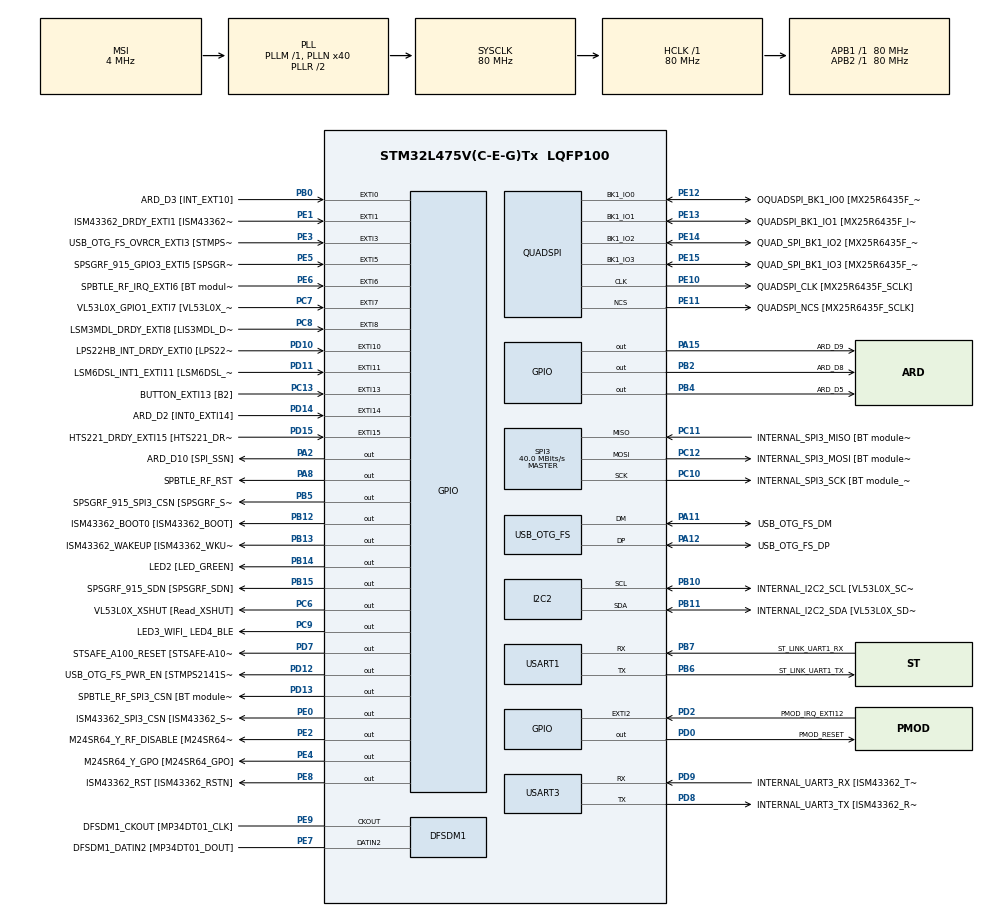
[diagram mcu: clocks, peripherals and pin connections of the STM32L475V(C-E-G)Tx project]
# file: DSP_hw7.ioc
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I2C2.Timing=0x10D19CE4
Mcu.Family=STM32L4
Mcu.Name=STM32L475V(C-E-G)Tx
Mcu.Package=LQFP100
NVIC.EXTI15_10_IRQn=true\:0\:0\:false\:false\:true\:true\:true\:true
NVIC.EXTI9_5_IRQn=true\:0\:0\:false\:false\:true\:true\:true\:true
NVIC.PriorityGroup=NVIC_PRIORITYGROUP_4
PA0.GPIO_Label=ARD_D1 [UART4_TX]
PA0.Signal=UART4_TX
PA1.GPIO_Label=ARD_D0 [UART4_RX]
PA1.Signal=UART4_RX
PA10.GPIO_Label=USB_OTG_FS_ID
PA10.Signal=USB_OTG_FS_ID
PA11.GPIO_Label=USB_OTG_FS_DM
PA11.Mode=Device_Only
PA11.Signal=USB_OTG_FS_DM
PA12.GPIO_Label=USB_OTG_FS_DP
PA12.Mode=Device_Only
PA12.Signal=USB_OTG_FS_DP
PA13\ (JTMS-SWDIO).GPIO_Label=SYS_JTMS_SWDIO
PA13\ (JTMS-SWDIO).Mode=Serial_Wire
PA13\ (JTMS-SWDIO).Signal=SYS_JTMS-SWDIO
PA14\ (JTCK-SWCLK).GPIO_Label=SYS_JTCK_SWCLK
PA14\ (JTCK-SWCLK).Mode=Serial_Wire
PA14\ (JTCK-SWCLK).Signal=SYS_JTCK-SWCLK
PA15\ (JTDI).GPIO_Label=ARD_D9
PA15\ (JTDI).Signal=GPIO_Output
PA2.GPIO_Label=ARD_D10 [SPI_SSN]
PA2.Signal=GPIO_Output
PA3.GPIO_Label=ARD_D4
PA3.Signal=S_TIM2_CH4
PA4.GPIO_Label=ARD_D7
PA4.Signal=ADCx_IN9
PA5.GPIO_Label=ARD_D13 [SPI1_SCK]
PA5.Signal=SPI1_SCK
PA6.GPIO_Label=ARD_D12 [SPI1_MISO]
PA6.Signal=SPI1_MISO
PA7.GPIO_Label=ARD_D11 [SPI1_MOSI]
PA7.Signal=SPI1_MOSI
PA8.GPIO_Label=SPBTLE_RF_RST
PA8.Signal=GPIO_Output
PA9.GPIO_Label=USB_OTG_FS_VBUS [STMPS2141STR_OUT]
PA9.Signal=USB_OTG_FS_VBUS
PB0.GPIO_Label=ARD_D3 [INT_EXT10]
PB0.Signal=GPXTI0
PB1.GPIO_Label=ARD_D6 [ADC1_IN6]
PB1.Signal=ADCx_IN16
PB10.GPIO_Label=INTERNAL_I2C2_SCL [VL53L0X_SCL]
PB10.GPIO_Pu=GPIO_PULLUP
PB10.Mode=I2C
PB10.Signal=I2C2_SCL
PB11.GPIO_Label=INTERNAL_I2C2_SDA [VL53L0X_SDA]
PB11.GPIO_Pu=GPIO_PULLUP
PB11.Mode=I2C
PB11.Signal=I2C2_SDA
PB12.GPIO_Label=ISM43362_BOOT0 [ISM43362_BOOT]
PB12.Signal=GPIO_Output
PB13.GPIO_Label=ISM43362_WAKEUP [ISM43362_WKUP]
PB13.Signal=GPIO_Output
PB14.GPIO_Label=LED2 [LED_GREEN]
PB14.Signal=GPIO_Output
PB15.GPIO_Label=SPSGRF_915_SDN [SPSGRF_SDN]
PB15.Signal=GPIO_Output
PB2.GPIO_Label=ARD_D8
PB2.Signal=GPIO_Output
PB3\ (JTDO-TRACESWO).GPIO_Label=SYS_JTD0_SWO
PB3\ (JTDO-TRACESWO).Signal=SYS_JTDO-SWO
PB4\ (NJTRST).GPIO_Label=ARD_D5
PB4\ (NJTRST).Signal=GPIO_Output
PB5.GPIO_Label=SPSGRF_915_SPI3_CSN [SPSGRF_SPI_CS]
PB5.PinState=GPIO_PIN_SET
PB5.Signal=GPIO_Output
PB6.GPIO_Label=ST_LINK_UART1_TX
PB6.Mode=Asynchronous
PB6.Signal=USART1_TX
PB7.GPIO_Label=ST_LINK_UART1_RX
PB7.Mode=Asynchronous
PB7.Signal=USART1_RX
PB8.GPIO_Label=ARD_D15 [I2C1_SCL]
PB8.Signal=I2C1_SCL
PB9.GPIO_Label=ARD_D14 [I2C1_SDA]
PB9.Signal=I2C1_SDA
PC0.GPIO_Label=ARD_A5 [ADC]
PC0.Signal=ADCx_IN1
PC1.GPIO_Label=ARD_A4 [ADC]
PC1.Signal=ADCx_IN2
PC10.GPIO_Label=INTERNAL_SPI3_SCK [BT module_SPI_SCLK] [ISM43362_SCK]
PC10.Mode=Full_Duplex_Master
PC10.Signal=SPI3_SCK
PC11.GPIO_Label=INTERNAL_SPI3_MISO [BT module_SPI_MISO] [ISM43362_MISO]
PC11.Mode=Full_Duplex_Master
PC11.Signal=SPI3_MISO
PC12.GPIO_Label=INTERNAL_SPI3_MOSI [BT module_SPI_MOSI] [ISM43362_MOSI]
PC12.Mode=Full_Duplex_Master
PC12.Signal=SPI3_MOSI
PC13.GPIO_Label=BUTTON_EXTI13 [B2]
PC13.GPIO_ModeDefaultEXTI=GPIO_MODE_IT_FALLING
PC13.Signal=GPXTI13
PC14-OSC32_IN\ (PC14).Mode=LSE-External-Oscillator
PC14-OSC32_IN\ (PC14).Signal=RCC_OSC32_IN
PC15-OSC32_OUT\ (PC15).Mode=LSE-External-Oscillator
PC15-OSC32_OUT\ (PC15).Signal=RCC_OSC32_OUT
PC2.GPIO_Label=ARD_A3 [ADC]
PC2.Signal=ADCx_IN3
PC3.GPIO_Label=ARD_A2 [ADC]
PC3.Signal=ADCx_IN4
PC4.GPIO_Label=ARD_A1 [ADC]
PC4.Signal=ADCx_IN13
PC5.GPIO_Label=ARD_A0 [ADC]
PC5.Signal=ADCx_IN14
PC6.GPIO_Label=VL53L0X_XSHUT [Read_XSHUT]
PC6.Signal=GPIO_Output
PC7.GPIO_Label=VL53L0X_GPIO1_EXTI7 [VL53L0X_GPIO1]
PC7.Signal=GPXTI7
PC8.GPIO_Label=LSM3MDL_DRDY_EXTI8 [LIS3MDL_DRDY]
PC8.Signal=GPXTI8
PC9.GPIO_Label=LED3_WIFI_ LED4_BLE
PC9.Signal=GPIO_Output
PD0.GPIO_Label=PMOD_RESET
PD0.Signal=GPIO_Output
PD1.GPIO_Label=PMOD_SPI2_SCK
PD1.Signal=SPI2_SCK
PD10.GPIO_Label=LPS22HB_INT_DRDY_EXTI0 [LPS22HB_INT_DRDY] 
PD10.Signal=GPXTI10
PD11.GPIO_Label=LSM6DSL_INT1_EXTI11 [LSM6DSL_INT1]
PD11.Signal=GPXTI11
PD12.GPIO_Label=USB_OTG_FS_PWR_EN [STMPS2141STR_EN]
PD12.Signal=GPIO_Output
PD13.GPIO_Label=SPBTLE_RF_SPI3_CSN [BT module_SPI_CS]
PD13.PinState=GPIO_PIN_SET
PD13.Signal=GPIO_Output
PD14.GPIO_Label=ARD_D2 [INT0_EXTI14]
PD14.Signal=GPXTI14
PD15.GPIO_Label=HTS221_DRDY_EXTI15 [HTS221_DRDY]
PD15.Signal=GPXTI15
PD2.GPIO_Label=PMOD_IRQ_EXTI12
PD2.Signal=GPXTI2
PD3.GPIO_Label=PMOD_UART2_CTS
PD3.Signal=USART2_CTS
PD4.GPIO_Label=PMOD_UART2_RTS
PD4.Signal=USART2_RTS
PD5.GPIO_Label=PMOD_UART2_TX
PD5.Signal=USART2_TX
PD6.GPIO_Label=PMOD_UART2_RX
PD6.Signal=USART2_RX
PD7.GPIO_Label=STSAFE_A100_RESET [STSAFE-A100_RESET]
PD7.Signal=GPIO_Output
PD8.GPIO_Label=INTERNAL_UART3_TX [ISM43362_RX]
PD8.Mode=Asynchronous
PD8.Signal=USART3_TX
PD9.GPIO_Label=INTERNAL_UART3_RX [ISM43362_TX]
PD9.Mode=Asynchronous
PD9.Signal=USART3_RX
PE0.GPIO_Label=ISM43362_SPI3_CSN [ISM43362_SSN]
PE0.PinState=GPIO_PIN_SET
PE0.Signal=GPIO_Output
PE1.GPIO_Label=ISM43362_DRDY_EXTI1 [ISM43362_DATARDY]
PE1.Signal=GPXTI1
PE10.GPIO_Label=QUADSPI_CLK [MX25R6435F_SCLK]
PE10.Mode=Single Bank
PE10.Signal=QUADSPI_CLK
PE11.GPIO_Label=QUADSPI_NCS [MX25R6435F_SCLK]
PE11.Mode=Single Bank
PE11.Signal=QUADSPI_NCS
PE12.GPIO_Label=OQUADSPI_BK1_IO0 [MX25R6435F_IO0]
PE12.Mode=Single Bank
PE12.Signal=QUADSPI_BK1_IO0
PE13.GPIO_Label=QUADSPI_BK1_IO1 [MX25R6435F_IO1]
PE13.Mode=Single Bank
PE13.Signal=QUADSPI_BK1_IO1
PE14.GPIO_Label=QUAD_SPI_BK1_IO2 [MX25R6435F_IO2]
PE14.Mode=Single Bank
PE14.Signal=QUADSPI_BK1_IO2
PE15.GPIO_Label=QUAD_SPI_BK1_IO3 [MX25R6435F_IO3]
PE15.Mode=Single Bank
PE15.Signal=QUADSPI_BK1_IO3
PE2.GPIO_Label=M24SR64_Y_RF_DISABLE [M24SR64_RFDIS]
PE2.Signal=GPIO_Output
PE3.GPIO_Label=USB_OTG_FS_OVRCR_EXTI3 [STMPS2141STR_FAULT]
PE3.Signal=GPXTI3
PE4.GPIO_Label=M24SR64_Y_GPO [M24SR64_GPO]
PE4.Signal=GPIO_Output
PE5.GPIO_Label=SPSGRF_915_GPIO3_EXTI5 [SPSGRF_GPIO_3]
PE5.Signal=GPXTI5
PE6.GPIO_Label=SPBTLE_RF_IRQ_EXTI6 [BT module_SPI_IRQ]
PE6.Signal=GPXTI6
PE7.GPIO_Label=DFSDM1_DATIN2 [MP34DT01_DOUT]
PE7.Signal=S_DATAIN2DFSDM1
PE8.GPIO_Label=ISM43362_RST [ISM43362_RSTN]
PE8.Signal=GPIO_Output
PE9.GPIO_Label=DFSDM1_CKOUT [MP34DT01_CLK]
PE9.Signal=S_CKOUTDFSDM1
ProjectManager.HeapSize=0x200
ProjectManager.StackSize=0x400
ProjectManager.TargetToolchain=STM32CubeIDE
QUADSPI.ClockPrescaler=2
QUADSPI.FifoThreshold=4
QUADSPI.FlashSize=23
QUADSPI.SampleShifting=QSPI_SAMPLE_SHIFTING_HALFCYCLE
RCC.ADCFreq_Value=48000000
RCC.AHBFreq_Value=80000000
RCC.APB1Freq_Value=80000000
RCC.APB1TimFreq_Value=80000000
RCC.APB2Freq_Value=80000000
RCC.APB2TimFreq_Value=80000000
RCC.CortexFreq_Value=80000000
RCC.HCLKFreq_Value=80000000
RCC.HSE_VALUE=8000000
RCC.HSI_VALUE=16000000
RCC.MSI_VALUE=4000000
RCC.PLLN=40
RCC.PLLSAI1N=24
RCC.SYSCLKFreq_VALUE=80000000
RCC.SYSCLKSource=RCC_SYSCLKSOURCE_PLLCLK
RCC.USBFreq_Value=48000000
RCC.VCOOutputFreq_Value=160000000
SH.ADCx_IN1.0=ADC1_IN1
SH.ADCx_IN13.0=ADC1_IN13
SH.ADCx_IN14.0=ADC1_IN14
SH.ADCx_IN16.0=ADC1_IN16
SH.ADCx_IN2.0=ADC1_IN2
SH.ADCx_IN3.0=ADC1_IN3
SH.ADCx_IN4.0=ADC1_IN4
SH.ADCx_IN9.0=ADC1_IN9
SH.S_CKOUTDFSDM1.0=DFSDM1_CKOUT,CKOUT
SH.S_CKOUTDFSDM1.1=DFSDM1_CKOUT,PDM_SPI_Input_from_ch12_and_Internal_Clock
SH.S_DATAIN2DFSDM1.0=DFSDM1_DATIN2,PDM_SPI_Input_from_ch12_and_Internal_Clock
SH.S_TIM2_CH4.0=TIM2_CH4
SPI3.CalculateBaudRate=40.0 MBits/s
SPI3.Direction=SPI_DIRECTION_2LINES
SPI3.Mode=SPI_MODE_MASTER
SPI3.VirtualType=VM_MASTER
USART1.VirtualMode-Asynchronous=VM_ASYNC
USART3.VirtualMode-Asynchronous=VM_ASYNC
USB_OTG_FS.VirtualMode=Device_Only
board=B-L475E-IOT01A1

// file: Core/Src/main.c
/* USER CODE BEGIN Header */
/**
  ******************************************************************************
  * @file           : main.c
  * @brief          : Main program body
  ******************************************************************************
  * @attention
  *
  * Copyright (c) 2026 STMicroelectronics.
  * All rights reserved.
  *
  * This software is licensed under terms that can be found in the LICENSE file
  * in the root directory of this software component.
  * If no LICENSE file comes with this software, it is provided AS-IS.
  *
  ******************************************************************************
  */
/* USER CODE END Header */
#include "main.h"

/* USER CODE BEGIN Includes */
#include "uart_printf.h"
#include "arm_math.h"
#include "math_helper.h"

#if defined(SEMIHOSTING)
#include <stdio.h>
#endif
#include "stm32l475e_iot01_accelero.h"

#ifdef huart1
#undef huart1
#endif
/* USER CODE END Includes */

/* USER CODE BEGIN PD */
#define TEST_LENGTH_SAMPLES  320

#define SNR_THRESHOLD_F32    75.0f
#define BLOCK_SIZE            32

#if defined(ARM_MATH_MVEF) && !defined(ARM_MATH_AUTOVECTORIZE)
/* Must be a multiple of 16 */
#define NUM_TAPS_ARRAY_SIZE              32
#else
#define NUM_TAPS_ARRAY_SIZE              29
#endif

#define NUM_TAPS              29

#define ACC_TAPS 10
#define ACC_BLOCK_SIZE 1

/* USER CODE END PD */

DFSDM_Channel_HandleTypeDef hdfsdm1_channel1;

I2C_HandleTypeDef hi2c2;

QSPI_HandleTypeDef hqspi;

SPI_HandleTypeDef hspi3;

UART_HandleTypeDef huart1;
UART_HandleTypeDef huart3;

PCD_HandleTypeDef hpcd_USB_OTG_FS;

/* USER CODE BEGIN PV */
extern float32_t testInput_f32_1kHz_15kHz[TEST_LENGTH_SAMPLES];
extern float32_t refOutput[TEST_LENGTH_SAMPLES];

static float32_t testOutput[TEST_LENGTH_SAMPLES];

#if defined(ARM_MATH_MVEF) && !defined(ARM_MATH_AUTOVECTORIZE)
static float32_t firStateF32[2 * BLOCK_SIZE + NUM_TAPS - 1];
#else
static float32_t firStateF32[BLOCK_SIZE + NUM_TAPS - 1];
#endif

#if defined(ARM_MATH_MVEF) && !defined(ARM_MATH_AUTOVECTORIZE)
const float32_t firCoeffs32[NUM_TAPS_ARRAY_SIZE] = {
  -0.0018225230f, -0.0015879294f, +0.0000000000f, +0.0036977508f, +0.0080754303f, +0.0085302217f, -0.0000000000f, -0.0173976984f,
  -0.0341458607f, -0.0333591565f, +0.0000000000f, +0.0676308395f, +0.1522061835f, +0.2229246956f, +0.2504960933f, +0.2229246956f,
  +0.1522061835f, +0.0676308395f, +0.0000000000f, -0.0333591565f, -0.0341458607f, -0.0173976984f, -0.0000000000f, +0.0085302217f,
  +0.0080754303f, +0.0036977508f, +0.0000000000f, -0.0015879294f, -0.0018225230f, 0.0f,0.0f,0.0f
};
#else
const float32_t firCoeffs32[NUM_TAPS_ARRAY_SIZE] = {
  -0.0018225230f, -0.0015879294f, +0.0000000000f, +0.0036977508f, +0.0080754303f, +0.0085302217f, -0.0000000000f, -0.0173976984f,
  -0.0341458607f, -0.0333591565f, +0.0000000000f, +0.0676308395f, +0.1522061835f, +0.2229246956f, +0.2504960933f, +0.2229246956f,
  +0.1522061835f, +0.0676308395f, +0.0000000000f, -0.0333591565f, -0.0341458607f, -0.0173976984f, -0.0000000000f, +0.0085302217f,
  +0.0080754303f, +0.0036977508f, +0.0000000000f, -0.0015879294f, -0.0018225230f
};
#endif

uint32_t blockSize = BLOCK_SIZE;
uint32_t numBlocks = TEST_LENGTH_SAMPLES/BLOCK_SIZE;

float32_t  snr;

/* Three independent FIR filters */
static arm_fir_instance_f32 fir[3];

/* Moving average FIR coefficients */
static float32_t accCoeffs[ACC_TAPS] = {
    0.1f, 0.1f, 0.1f, 0.1f, 0.1f,
    0.1f, 0.1f, 0.1f, 0.1f, 0.1f
};

/* Each axis needs its own state */
static float32_t accState[3][ACC_TAPS];

/* Raw accelerometer data */
static int16_t accel[3];

/* FIR input and output */
static float32_t accInput[3];
static float32_t accOutput[3];
/* USER CODE END PV */

void SystemClock_Config(void);
static void MX_GPIO_Init(void);
static void MX_DFSDM1_Init(void);
static void MX_I2C2_Init(void);
static void MX_QUADSPI_Init(void);
static void MX_SPI3_Init(void);
static void MX_USART1_UART_Init(void);
static void MX_USART3_UART_Init(void);
static void MX_USB_OTG_FS_PCD_Init(void);

int main(void)
{

  /* MCU Configuration--------------------------------------------------------*/

  /* Reset of all peripherals, Initializes the Flash interface and the Systick. */
  HAL_Init();

  /* USER CODE BEGIN Init */
  BSP_ACCELERO_Init();
  /* USER CODE END Init */

  /* Configure the system clock */
  SystemClock_Config();

  /* Initialize all configured peripherals */
  MX_GPIO_Init();
  MX_DFSDM1_Init();
  MX_I2C2_Init();
  MX_QUADSPI_Init();
  MX_SPI3_Init();
  MX_USART1_UART_Init();
  MX_USART3_UART_Init();
  MX_USB_OTG_FS_PCD_Init();
  /* USER CODE BEGIN 2 */

  printf("hello\r\n");

//  int16_t accel[3];
//
//  BSP_ACCELERO_AccGetXYZ(accel);

  uint32_t i;
  arm_fir_instance_f32 S;
  arm_status status;
  float32_t *inputF32, *outputF32;

  // Initialize input and output pointers
  inputF32 = &testInput_f32_1kHz_15kHz[0];
  outputF32 = &testOutput[0];

  // Initialize FIR filter
  arm_fir_init_f32(
      &S,
      NUM_TAPS,
      (float32_t *)&firCoeffs32[0],
      &firStateF32[0],
      blockSize
  );

  // Process input signal
  for (i = 0; i < numBlocks; i++)
  {
      arm_fir_f32(
          &S,
          inputF32 + (i * blockSize),
          outputF32 + (i * blockSize),
          blockSize
      );
  }

  // Calculate SNR
  snr = arm_snr_f32(
      &refOutput[0],
      &testOutput[0],
      TEST_LENGTH_SAMPLES
  );

  // Check result
  status = (snr < SNR_THRESHOLD_F32)
           ? ARM_MATH_TEST_FAILURE
           : ARM_MATH_SUCCESS;

  if (status == ARM_MATH_SUCCESS)
  {
      printf("FIR Test SUCCESS\r\n");
  }
  else
  {
      printf("FIR Test FAILURE\r\n");
  }

  /* Initialize accelerometer */
  BSP_ACCELERO_Init();

  /* Initialize three FIR filters */
  for (int i = 0; i < 3; i++)
  {
      arm_fir_init_f32(
          &fir[i],
          ACC_TAPS,
          accCoeffs,
          accState[i],
          ACC_BLOCK_SIZE
      );
  }

  /* Read initial acceleration */
  BSP_ACCELERO_AccGetXYZ(accel);

  /* Initialize FIR history to avoid startup transient */
  for (int axis = 0; axis < 3; axis++)
  {
      for (int j = 0; j < ACC_TAPS; j++)
      {
          accState[axis][j] = (float32_t)accel[axis];
      }
  }

  printf("Accelerometer FIR initialized\r\n");
  printf("RawX,RawY,RawZ,FilteredX,FilteredY,FilteredZ\r\n");
  /* USER CODE END 2 */

  /* Infinite loop */
  while (1)
  {
    /* USER CODE BEGIN 3 */
	  static uint32_t sampleCount = 0;

	  /* Read accelerometer */
	  BSP_ACCELERO_AccGetXYZ(accel);

	  /* FIR filtering */
	  for (int i = 0; i < 3; i++)
	  {
	      accInput[i] = (float32_t)accel[i];

	      arm_fir_f32(
	          &fir[i],
	          &accInput[i],
	          &accOutput[i],
	          1
	      );
	  }

	  sampleCount++;

	  /* Print every 10 samples */
	  if (sampleCount % 10 == 0)
	  {
	      printf("%6lu | %+8d %+7ld | %+8d %+7ld | %+8d %+7ld\r\n",
	             (unsigned long)sampleCount,
	             accel[0], (long)accOutput[0],
	             accel[1], (long)accOutput[1],
	             accel[2], (long)accOutput[2]);
	  }

	  HAL_Delay(20);
  }
  /* USER CODE END 3 */
}

void SystemClock_Config(void)
{
  RCC_OscInitTypeDef RCC_OscInitStruct = {0};
  RCC_ClkInitTypeDef RCC_ClkInitStruct = {0};

  /** Configure the main internal regulator output voltage
  */
  if (HAL_PWREx_ControlVoltageScaling(PWR_REGULATOR_VOLTAGE_SCALE1) != HAL_OK)
  {
    Error_Handler();
  }

  /** Configure LSE Drive Capability
  */
  HAL_PWR_EnableBkUpAccess();
  __HAL_RCC_LSEDRIVE_CONFIG(RCC_LSEDRIVE_LOW);

  /** Initializes the RCC Oscillators according to the specified parameters
  * in the RCC_OscInitTypeDef structure.
  */
  RCC_OscInitStruct.OscillatorType = RCC_OSCILLATORTYPE_LSE|RCC_OSCILLATORTYPE_MSI;
  RCC_OscInitStruct.LSEState = RCC_LSE_ON;
  RCC_OscInitStruct.MSIState = RCC_MSI_ON;
  RCC_OscInitStruct.MSICalibrationValue = 0;
  RCC_OscInitStruct.MSIClockRange = RCC_MSIRANGE_6;
  RCC_OscInitStruct.PLL.PLLState = RCC_PLL_ON;
  RCC_OscInitStruct.PLL.PLLSource = RCC_PLLSOURCE_MSI;
  RCC_OscInitStruct.PLL.PLLM = 1;
  RCC_OscInitStruct.PLL.PLLN = 40;
  RCC_OscInitStruct.PLL.PLLP = RCC_PLLP_DIV7;
  RCC_OscInitStruct.PLL.PLLQ = RCC_PLLQ_DIV2;
  RCC_OscInitStruct.PLL.PLLR = RCC_PLLR_DIV2;
  if (HAL_RCC_OscConfig(&RCC_OscInitStruct) != HAL_OK)
  {
    Error_Handler();
  }

  /** Initializes the CPU, AHB and APB buses clocks
  */
  RCC_ClkInitStruct.ClockType = RCC_CLOCKTYPE_HCLK|RCC_CLOCKTYPE_SYSCLK
                              |RCC_CLOCKTYPE_PCLK1|RCC_CLOCKTYPE_PCLK2;
  RCC_ClkInitStruct.SYSCLKSource = RCC_SYSCLKSOURCE_PLLCLK;
  RCC_ClkInitStruct.AHBCLKDivider = RCC_SYSCLK_DIV1;
  RCC_ClkInitStruct.APB1CLKDivider = RCC_HCLK_DIV1;
  RCC_ClkInitStruct.APB2CLKDivider = RCC_HCLK_DIV1;

  if (HAL_RCC_ClockConfig(&RCC_ClkInitStruct, FLASH_LATENCY_4) != HAL_OK)
  {
    Error_Handler();
  }

  /** Enable MSI Auto calibration
  */
  HAL_RCCEx_EnableMSIPLLMode();
}

static void MX_DFSDM1_Init(void)
{

  hdfsdm1_channel1.Instance = DFSDM1_Channel1;
  hdfsdm1_channel1.Init.OutputClock.Activation = ENABLE;
  hdfsdm1_channel1.Init.OutputClock.Selection = DFSDM_CHANNEL_OUTPUT_CLOCK_SYSTEM;
  hdfsdm1_channel1.Init.OutputClock.Divider = 2;
  hdfsdm1_channel1.Init.Input.Multiplexer = DFSDM_CHANNEL_EXTERNAL_INPUTS;
  hdfsdm1_channel1.Init.Input.DataPacking = DFSDM_CHANNEL_STANDARD_MODE;
  hdfsdm1_channel1.Init.Input.Pins = DFSDM_CHANNEL_FOLLOWING_CHANNEL_PINS;
  hdfsdm1_channel1.Init.SerialInterface.Type = DFSDM_CHANNEL_SPI_RISING;
  hdfsdm1_channel1.Init.SerialInterface.SpiClock = DFSDM_CHANNEL_SPI_CLOCK_INTERNAL;
  hdfsdm1_channel1.Init.Awd.FilterOrder = DFSDM_CHANNEL_FASTSINC_ORDER;
  hdfsdm1_channel1.Init.Awd.Oversampling = 1;
  hdfsdm1_channel1.Init.Offset = 0;
  hdfsdm1_channel1.Init.RightBitShift = 0x00;
  if (HAL_DFSDM_ChannelInit(&hdfsdm1_channel1) != HAL_OK)
  {
    Error_Handler();
  }

}

static void MX_I2C2_Init(void)
{

  hi2c2.Instance = I2C2;
  hi2c2.Init.Timing = 0x10D19CE4;
  hi2c2.Init.OwnAddress1 = 0;
  hi2c2.Init.AddressingMode = I2C_ADDRESSINGMODE_7BIT;
  hi2c2.Init.DualAddressMode = I2C_DUALADDRESS_DISABLE;
  hi2c2.Init.OwnAddress2 = 0;
  hi2c2.Init.OwnAddress2Masks = I2C_OA2_NOMASK;
  hi2c2.Init.GeneralCallMode = I2C_GENERALCALL_DISABLE;
  hi2c2.Init.NoStretchMode = I2C_NOSTRETCH_DISABLE;
  if (HAL_I2C_Init(&hi2c2) != HAL_OK)
  {
    Error_Handler();
  }

  /** Configure Analogue filter
  */
  if (HAL_I2CEx_ConfigAnalogFilter(&hi2c2, I2C_ANALOGFILTER_ENABLE) != HAL_OK)
  {
    Error_Handler();
  }

  /** Configure Digital filter
  */
  if (HAL_I2CEx_ConfigDigitalFilter(&hi2c2, 0) != HAL_OK)
  {
    Error_Handler();
  }

}

static void MX_QUADSPI_Init(void)
{

  /* QUADSPI parameter configuration*/
  hqspi.Instance = QUADSPI;
  hqspi.Init.ClockPrescaler = 2;
  hqspi.Init.FifoThreshold = 4;
  hqspi.Init.SampleShifting = QSPI_SAMPLE_SHIFTING_HALFCYCLE;
  hqspi.Init.FlashSize = 23;
  hqspi.Init.ChipSelectHighTime = QSPI_CS_HIGH_TIME_1_CYCLE;
  hqspi.Init.ClockMode = QSPI_CLOCK_MODE_0;
  if (HAL_QSPI_Init(&hqspi) != HAL_OK)
  {
    Error_Handler();
  }

}

static void MX_SPI3_Init(void)
{

  /* SPI3 parameter configuration*/
  hspi3.Instance = SPI3;
  hspi3.Init.Mode = SPI_MODE_MASTER;
  hspi3.Init.Direction = SPI_DIRECTION_2LINES;
  hspi3.Init.DataSize = SPI_DATASIZE_4BIT;
  hspi3.Init.CLKPolarity = SPI_POLARITY_LOW;
  hspi3.Init.CLKPhase = SPI_PHASE_1EDGE;
  hspi3.Init.NSS = SPI_NSS_SOFT;
  hspi3.Init.BaudRatePrescaler = SPI_BAUDRATEPRESCALER_2;
  hspi3.Init.FirstBit = SPI_FIRSTBIT_MSB;
  hspi3.Init.TIMode = SPI_TIMODE_DISABLE;
  hspi3.Init.CRCCalculation = SPI_CRCCALCULATION_DISABLE;
  hspi3.Init.CRCPolynomial = 7;
  hspi3.Init.CRCLength = SPI_CRC_LENGTH_DATASIZE;
  hspi3.Init.NSSPMode = SPI_NSS_PULSE_ENABLE;
  if (HAL_SPI_Init(&hspi3) != HAL_OK)
  {
    Error_Handler();
  }

}

static void MX_USART1_UART_Init(void)
{

  huart1.Instance = USART1;
  huart1.Init.BaudRate = 115200;
  huart1.Init.WordLength = UART_WORDLENGTH_8B;
  huart1.Init.StopBits = UART_STOPBITS_1;
  huart1.Init.Parity = UART_PARITY_NONE;
  huart1.Init.Mode = UART_MODE_TX_RX;
  huart1.Init.HwFlowCtl = UART_HWCONTROL_NONE;
  huart1.Init.OverSampling = UART_OVERSAMPLING_16;
  huart1.Init.OneBitSampling = UART_ONE_BIT_SAMPLE_DISABLE;
  huart1.AdvancedInit.AdvFeatureInit = UART_ADVFEATURE_NO_INIT;
  if (HAL_UART_Init(&huart1) != HAL_OK)
  {
    Error_Handler();
  }

}

static void MX_USART3_UART_Init(void)
{

  huart3.Instance = USART3;
  huart3.Init.BaudRate = 115200;
  huart3.Init.WordLength = UART_WORDLENGTH_8B;
  huart3.Init.StopBits = UART_STOPBITS_1;
  huart3.Init.Parity = UART_PARITY_NONE;
  huart3.Init.Mode = UART_MODE_TX_RX;
  huart3.Init.HwFlowCtl = UART_HWCONTROL_NONE;
  huart3.Init.OverSampling = UART_OVERSAMPLING_16;
  huart3.Init.OneBitSampling = UART_ONE_BIT_SAMPLE_DISABLE;
  huart3.AdvancedInit.AdvFeatureInit = UART_ADVFEATURE_NO_INIT;
  if (HAL_UART_Init(&huart3) != HAL_OK)
  {
    Error_Handler();
  }

}

static void MX_USB_OTG_FS_PCD_Init(void)
{

  hpcd_USB_OTG_FS.Instance = USB_OTG_FS;
  hpcd_USB_OTG_FS.Init.dev_endpoints = 6;
  hpcd_USB_OTG_FS.Init.speed = PCD_SPEED_FULL;
  hpcd_USB_OTG_FS.Init.phy_itface = PCD_PHY_EMBEDDED;
  hpcd_USB_OTG_FS.Init.Sof_enable = DISABLE;
  hpcd_USB_OTG_FS.Init.low_power_enable = DISABLE;
  hpcd_USB_OTG_FS.Init.lpm_enable = DISABLE;
  hpcd_USB_OTG_FS.Init.battery_charging_enable = DISABLE;
  hpcd_USB_OTG_FS.Init.use_dedicated_ep1 = DISABLE;
  hpcd_USB_OTG_FS.Init.vbus_sensing_enable = DISABLE;
  if (HAL_PCD_Init(&hpcd_USB_OTG_FS) != HAL_OK)
  {
    Error_Handler();
  }

}

static void MX_GPIO_Init(void)
{
  GPIO_InitTypeDef GPIO_InitStruct = {0};

  /* GPIO Ports Clock Enable */
  __HAL_RCC_GPIOE_CLK_ENABLE();
  __HAL_RCC_GPIOC_CLK_ENABLE();
  __HAL_RCC_GPIOA_CLK_ENABLE();
  __HAL_RCC_GPIOB_CLK_ENABLE();
  __HAL_RCC_GPIOD_CLK_ENABLE();

  /*Configure GPIO pin Output Level */
  HAL_GPIO_WritePin(GPIOE, M24SR64_Y_RF_DISABLE_Pin|M24SR64_Y_GPO_Pin|ISM43362_RST_Pin, GPIO_PIN_RESET);

  /*Configure GPIO pin Output Level */
  HAL_GPIO_WritePin(GPIOA, ARD_D10_Pin|SPBTLE_RF_RST_Pin|ARD_D9_Pin, GPIO_PIN_RESET);

  /*Configure GPIO pin Output Level */
  HAL_GPIO_WritePin(GPIOB, ARD_D8_Pin|ISM43362_BOOT0_Pin|ISM43362_WAKEUP_Pin|LED2_Pin
                          |SPSGRF_915_SDN_Pin|ARD_D5_Pin, GPIO_PIN_RESET);

  /*Configure GPIO pin Output Level */
  HAL_GPIO_WritePin(GPIOD, USB_OTG_FS_PWR_EN_Pin|PMOD_RESET_Pin|STSAFE_A100_RESET_Pin, GPIO_PIN_RESET);

  /*Configure GPIO pin Output Level */
  HAL_GPIO_WritePin(SPBTLE_RF_SPI3_CSN_GPIO_Port, SPBTLE_RF_SPI3_CSN_Pin, GPIO_PIN_SET);

  /*Configure GPIO pin Output Level */
  HAL_GPIO_WritePin(GPIOC, VL53L0X_XSHUT_Pin|LED3_WIFI__LED4_BLE_Pin, GPIO_PIN_RESET);

  /*Configure GPIO pin Output Level */
  HAL_GPIO_WritePin(SPSGRF_915_SPI3_CSN_GPIO_Port, SPSGRF_915_SPI3_CSN_Pin, GPIO_PIN_SET);

  /*Configure GPIO pin Output Level */
  HAL_GPIO_WritePin(ISM43362_SPI3_CSN_GPIO_Port, ISM43362_SPI3_CSN_Pin, GPIO_PIN_SET);

  /*Configure GPIO pins : M24SR64_Y_RF_DISABLE_Pin M24SR64_Y_GPO_Pin ISM43362_RST_Pin ISM43362_SPI3_CSN_Pin */
  GPIO_InitStruct.Pin = M24SR64_Y_RF_DISABLE_Pin|M24SR64_Y_GPO_Pin|ISM43362_RST_Pin|ISM43362_SPI3_CSN_Pin;
  GPIO_InitStruct.Mode = GPIO_MODE_OUTPUT_PP;
  GPIO_InitStruct.Pull = GPIO_NOPULL;
  GPIO_InitStruct.Speed = GPIO_SPEED_FREQ_LOW;
  HAL_GPIO_Init(GPIOE, &GPIO_InitStruct);

  /*Configure GPIO pins : USB_OTG_FS_OVRCR_EXTI3_Pin SPSGRF_915_GPIO3_EXTI5_Pin SPBTLE_RF_IRQ_EXTI6_Pin ISM43362_DRDY_EXTI1_Pin */
  GPIO_InitStruct.Pin = USB_OTG_FS_OVRCR_EXTI3_Pin|SPSGRF_915_GPIO3_EXTI5_Pin|SPBTLE_RF_IRQ_EXTI6_Pin|ISM43362_DRDY_EXTI1_Pin;
  GPIO_InitStruct.Mode = GPIO_MODE_IT_RISING;
  GPIO_InitStruct.Pull = GPIO_NOPULL;
  HAL_GPIO_Init(GPIOE, &GPIO_InitStruct);

  /*Configure GPIO pin : BUTTON_EXTI13_Pin */
  GPIO_InitStruct.Pin = BUTTON_EXTI13_Pin;
  GPIO_InitStruct.Mode = GPIO_MODE_IT_FALLING;
  GPIO_InitStruct.Pull = GPIO_NOPULL;
  HAL_GPIO_Init(BUTTON_EXTI13_GPIO_Port, &GPIO_InitStruct);

  /*Configure GPIO pins : ARD_A5_Pin ARD_A4_Pin ARD_A3_Pin ARD_A2_Pin
                           ARD_A1_Pin ARD_A0_Pin */
  GPIO_InitStruct.Pin = ARD_A5_Pin|ARD_A4_Pin|ARD_A3_Pin|ARD_A2_Pin
                          |ARD_A1_Pin|ARD_A0_Pin;
  GPIO_InitStruct.Mode = GPIO_MODE_ANALOG_ADC_CONTROL;
  GPIO_InitStruct.Pull = GPIO_NOPULL;
  HAL_GPIO_Init(GPIOC, &GPIO_InitStruct);

  /*Configure GPIO pins : ARD_D1_Pin ARD_D0_Pin */
  GPIO_InitStruct.Pin = ARD_D1_Pin|ARD_D0_Pin;
  GPIO_InitStruct.Mode = GPIO_MODE_AF_PP;
  GPIO_InitStruct.Pull = GPIO_NOPULL;
  GPIO_InitStruct.Speed = GPIO_SPEED_FREQ_VERY_HIGH;
  GPIO_InitStruct.Alternate = GPIO_AF8_UART4;
  HAL_GPIO_Init(GPIOA, &GPIO_InitStruct);

  /*Configure GPIO pins : ARD_D10_Pin SPBTLE_RF_RST_Pin ARD_D9_Pin */
  GPIO_InitStruct.Pin = ARD_D10_Pin|SPBTLE_RF_RST_Pin|ARD_D9_Pin;
  GPIO_InitStruct.Mode = GPIO_MODE_OUTPUT_PP;
  GPIO_InitStruct.Pull = GPIO_NOPULL;
  GPIO_InitStruct.Speed = GPIO_SPEED_FREQ_LOW;
  HAL_GPIO_Init(GPIOA, &GPIO_InitStruct);

  /*Configure GPIO pin : ARD_D4_Pin */
  GPIO_InitStruct.Pin = ARD_D4_Pin;
  GPIO_InitStruct.Mode = GPIO_MODE_AF_PP;
  GPIO_InitStruct.Pull = GPIO_NOPULL;
  GPIO_InitStruct.Speed = GPIO_SPEED_FREQ_LOW;
  GPIO_InitStruct.Alternate = GPIO_AF1_TIM2;
  HAL_GPIO_Init(ARD_D4_GPIO_Port, &GPIO_InitStruct);

  /*Configure GPIO pin : ARD_D7_Pin */
  GPIO_InitStruct.Pin = ARD_D7_Pin;
  GPIO_InitStruct.Mode = GPIO_MODE_ANALOG_ADC_CONTROL;
  GPIO_InitStruct.Pull = GPIO_NOPULL;
  HAL_GPIO_Init(ARD_D7_GPIO_Port, &GPIO_InitStruct);

  /*Configure GPIO pins : ARD_D13_Pin ARD_D12_Pin ARD_D11_Pin */
  GPIO_InitStruct.Pin = ARD_D13_Pin|ARD_D12_Pin|ARD_D11_Pin;
  GPIO_InitStruct.Mode = GPIO_MODE_AF_PP;
  GPIO_InitStruct.Pull = GPIO_NOPULL;
  GPIO_InitStruct.Speed = GPIO_SPEED_FREQ_VERY_HIGH;
  GPIO_InitStruct.Alternate = GPIO_AF5_SPI1;
  HAL_GPIO_Init(GPIOA, &GPIO_InitStruct);

  /*Configure GPIO pin : ARD_D3_Pin */
  GPIO_InitStruct.Pin = ARD_D3_Pin;
  GPIO_InitStruct.Mode = GPIO_MODE_IT_RISING;
  GPIO_InitStruct.Pull = GPIO_NOPULL;
  HAL_GPIO_Init(ARD_D3_GPIO_Port, &GPIO_InitStruct);

  /*Configure GPIO pin : ARD_D6_Pin */
  GPIO_InitStruct.Pin = ARD_D6_Pin;
  GPIO_InitStruct.Mode = GPIO_MODE_ANALOG_ADC_CONTROL;
  GPIO_InitStruct.Pull = GPIO_NOPULL;
  HAL_GPIO_Init(ARD_D6_GPIO_Port, &GPIO_InitStruct);

  /*Configure GPIO pins : ARD_D8_Pin ISM43362_BOOT0_Pin ISM43362_WAKEUP_Pin LED2_Pin
                           SPSGRF_915_SDN_Pin ARD_D5_Pin SPSGRF_915_SPI3_CSN_Pin */
  GPIO_InitStruct.Pin = ARD_D8_Pin|ISM43362_BOOT0_Pin|ISM43362_WAKEUP_Pin|LED2_Pin
                          |SPSGRF_915_SDN_Pin|ARD_D5_Pin|SPSGRF_915_SPI3_CSN_Pin;
  GPIO_InitStruct.Mode = GPIO_MODE_OUTPUT_PP;
  GPIO_InitStruct.Pull = GPIO_NOPULL;
  GPIO_InitStruct.Speed = GPIO_SPEED_FREQ_LOW;
  HAL_GPIO_Init(GPIOB, &GPIO_InitStruct);

  /*Configure GPIO pins : LPS22HB_INT_DRDY_EXTI0_Pin LSM6DSL_INT1_EXTI11_Pin ARD_D2_Pin HTS221_DRDY_EXTI15_Pin
                           PMOD_IRQ_EXTI12_Pin */
  GPIO_InitStruct.Pin = LPS22HB_INT_DRDY_EXTI0_Pin|LSM6DSL_INT1_EXTI11_Pin|ARD_D2_Pin|HTS221_DRDY_EXTI15_Pin
                          |PMOD_IRQ_EXTI12_Pin;
  GPIO_InitStruct.Mode = GPIO_MODE_IT_RISING;
  GPIO_InitStruct.Pull = GPIO_NOPULL;
  HAL_GPIO_Init(GPIOD, &GPIO_InitStruct);

  /*Configure GPIO pins : USB_OTG_FS_PWR_EN_Pin SPBTLE_RF_SPI3_CSN_Pin PMOD_RESET_Pin STSAFE_A100_RESET_Pin */
  GPIO_InitStruct.Pin = USB_OTG_FS_PWR_EN_Pin|SPBTLE_RF_SPI3_CSN_Pin|PMOD_RESET_Pin|STSAFE_A100_RESET_Pin;
  GPIO_InitStruct.Mode = GPIO_MODE_OUTPUT_PP;
  GPIO_InitStruct.Pull = GPIO_NOPULL;
  GPIO_InitStruct.Speed = GPIO_SPEED_FREQ_LOW;
  HAL_GPIO_Init(GPIOD, &GPIO_InitStruct);

  /*Configure GPIO pins : VL53L0X_XSHUT_Pin LED3_WIFI__LED4_BLE_Pin */
  GPIO_InitStruct.Pin = VL53L0X_XSHUT_Pin|LED3_WIFI__LED4_BLE_Pin;
  GPIO_InitStruct.Mode = GPIO_MODE_OUTPUT_PP;
  GPIO_InitStruct.Pull = GPIO_NOPULL;
  GPIO_InitStruct.Speed = GPIO_SPEED_FREQ_LOW;
  HAL_GPIO_Init(GPIOC, &GPIO_InitStruct);

  /*Configure GPIO pins : VL53L0X_GPIO1_EXTI7_Pin LSM3MDL_DRDY_EXTI8_Pin */
  GPIO_InitStruct.Pin = VL53L0X_GPIO1_EXTI7_Pin|LSM3MDL_DRDY_EXTI8_Pin;
  GPIO_InitStruct.Mode = GPIO_MODE_IT_RISING;
  GPIO_InitStruct.Pull = GPIO_NOPULL;
  HAL_GPIO_Init(GPIOC, &GPIO_InitStruct);

  /*Configure GPIO pin : PMOD_SPI2_SCK_Pin */
  GPIO_InitStruct.Pin = PMOD_SPI2_SCK_Pin;
  GPIO_InitStruct.Mode = GPIO_MODE_AF_PP;
  GPIO_InitStruct.Pull = GPIO_NOPULL;
  GPIO_InitStruct.Speed = GPIO_SPEED_FREQ_VERY_HIGH;
  GPIO_InitStruct.Alternate = GPIO_AF5_SPI2;
  HAL_GPIO_Init(PMOD_SPI2_SCK_GPIO_Port, &GPIO_InitStruct);

  /*Configure GPIO pins : PMOD_UART2_CTS_Pin PMOD_UART2_RTS_Pin PMOD_UART2_TX_Pin PMOD_UART2_RX_Pin */
  GPIO_InitStruct.Pin = PMOD_UART2_CTS_Pin|PMOD_UART2_RTS_Pin|PMOD_UART2_TX_Pin|PMOD_UART2_RX_Pin;
  GPIO_InitStruct.Mode = GPIO_MODE_AF_PP;
  GPIO_InitStruct.Pull = GPIO_NOPULL;
  GPIO_InitStruct.Speed = GPIO_SPEED_FREQ_VERY_HIGH;
  GPIO_InitStruct.Alternate = GPIO_AF7_USART2;
  HAL_GPIO_Init(GPIOD, &GPIO_InitStruct);

  /*Configure GPIO pins : ARD_D15_Pin ARD_D14_Pin */
  GPIO_InitStruct.Pin = ARD_D15_Pin|ARD_D14_Pin;
  GPIO_InitStruct.Mode = GPIO_MODE_AF_OD;
  GPIO_InitStruct.Pull = GPIO_NOPULL;
  GPIO_InitStruct.Speed = GPIO_SPEED_FREQ_VERY_HIGH;
  GPIO_InitStruct.Alternate = GPIO_AF4_I2C1;
  HAL_GPIO_Init(GPIOB, &GPIO_InitStruct);

  /* EXTI interrupt init*/
  HAL_NVIC_SetPriority(EXTI9_5_IRQn, 0, 0);
  HAL_NVIC_EnableIRQ(EXTI9_5_IRQn);

  HAL_NVIC_SetPriority(EXTI15_10_IRQn, 0, 0);
  HAL_NVIC_EnableIRQ(EXTI15_10_IRQn);

}

void Error_Handler(void)
{
  __disable_irq();
  while (1)
  {
  }
}
